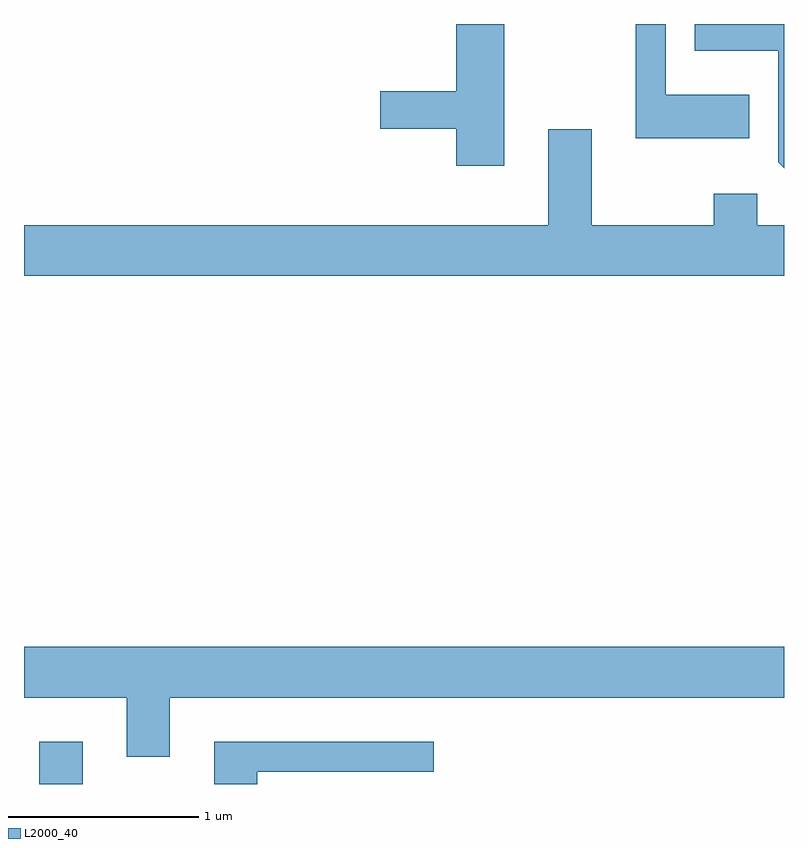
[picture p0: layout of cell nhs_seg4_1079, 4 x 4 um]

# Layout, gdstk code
import gdstk
lib = gdstk.Library(unit=1e-6, precision=1e-09)
def R(c, l, rs):  # rectangles x0, y0, x1, y1
    for r in rs: c.add(gdstk.rectangle(r[:2], r[2:], *l))
def P(c, l, *ps):  # polygons
    for p in ps: c.add(gdstk.Polygon(p, *l))
L2000_40 = (2000, 40)

nhs_seg4_1079 = lib.new_cell('nhs_seg4_1079')
R(nhs_seg4_1079, L2000_40, [(215.691,1371.982,215.919,1372.204)])
P(nhs_seg4_1079, L2000_40, [(219.611,1375.982),(219.141,1375.982),(219.141,1375.841),(219.581,1375.841),(219.581,1375.254),(219.611,1375.224)],
  [(219.429,1375.609),(218.989,1375.609),(218.989,1375.982),(218.831,1375.982),(218.831,1375.381),(219.429,1375.381)],
  [(218.139,1375.982),(217.886,1375.982),(217.886,1375.629),(217.486,1375.629),(217.486,1375.431),(217.886,1375.431),(217.886,1375.236),(218.139,1375.236)],
  [(219.611,1374.924),(219.469,1374.924),(219.469,1375.089),(219.241,1375.089),(219.241,1374.924),(218.599,1374.924),(218.599,1375.429),(218.371,1375.429),(218.371,1374.924),(215.611,1374.924),(215.611,1374.656),(219.611,1374.656)],
  [(216.379,1372.436),(219.611,1372.436),(219.611,1372.704),(215.611,1372.704),(215.611,1372.436),(216.151,1372.436),(216.151,1372.126),(216.379,1372.126)],
  [(216.839,1372.046),(217.768,1372.046),(217.768,1372.204),(216.611,1372.204),(216.611,1371.982),(216.839,1371.982)])

lib.write_gds('nhs_seg4_1079.gds')
